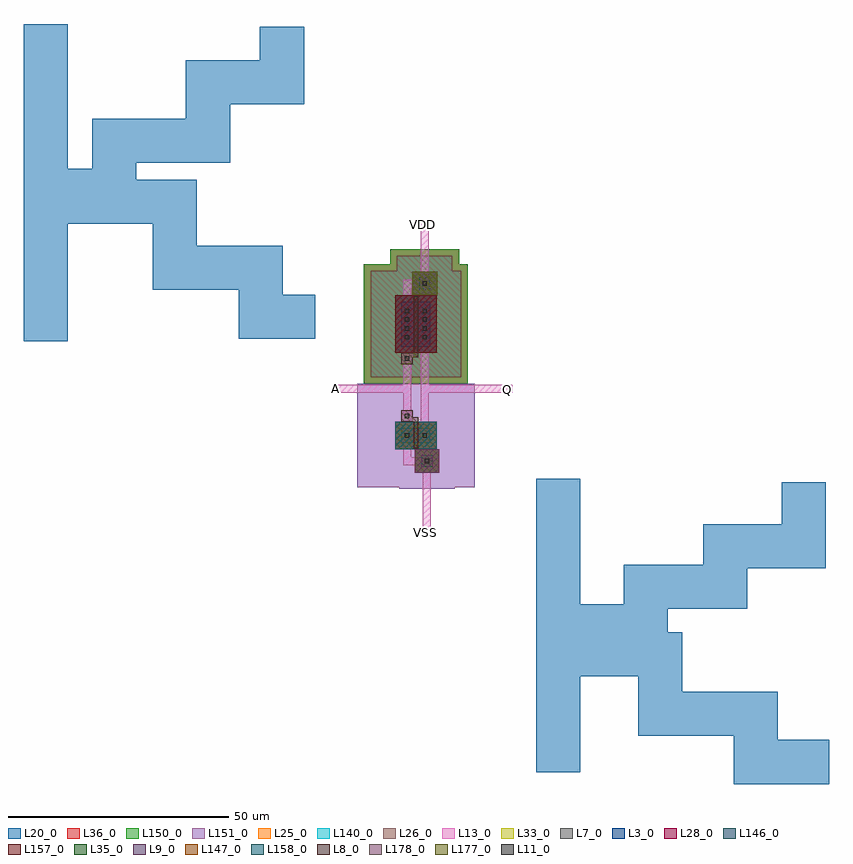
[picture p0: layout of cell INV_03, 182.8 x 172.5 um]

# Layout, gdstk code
import gdstk
lib = gdstk.Library(unit=1e-6, precision=1e-07)
def R(c, l, rs):  # rectangles x0, y0, x1, y1
    for r in rs: c.add(gdstk.rectangle(r[:2], r[2:], *l))
L3_0 = (3, 0)
L7_0 = (7, 0)
L8_0 = (8, 0)
L9_0 = (9, 0)
L11_0 = (11, 0)
L13_0 = (13, 0)
L20_0 = (20, 0)
L25_0 = (25, 0)
L26_0 = (26, 0)
L28_0 = (28, 0)
L33_0 = (33, 0)
L35_0 = (35, 0)
L36_0 = (36, 0)
L140_0 = (140, 0)
L146_0 = (146, 0)
L147_0 = (147, 0)
L150_0 = (150, 0)
L151_0 = (151, 0)
L157_0 = (157, 0)
L158_0 = (158, 0)
L177_0 = (177, 0)
L178_0 = (178, 0)

dcont = lib.new_cell('dcont')
R(dcont, L3_0, [(-1.3,-1.3,1.3,1.3)])
R(dcont, L11_0, [(-0.5,-0.5,0.5,0.5)])
R(dcont, L13_0, [(-1.3,-1.3,1.3,1.3), (-0.5,-0.5,0.5,0.5)])

pcont = lib.new_cell('pcont')
R(pcont, L8_0, [(-1.3,-1.3,1.3,1.3)])
R(pcont, L11_0, [(-0.5,-0.5,0.5,0.5)])
R(pcont, L13_0, [(-1.3,-1.3,1.3,1.3), (-0.5,-0.5,0.5,0.5)])

c_dcont = lib.new_cell('DCONT')
R(c_dcont, L3_0, [(-1.3,-1.3,1.3,1.3)])
R(c_dcont, L11_0, [(-0.5,-0.5,0.5,0.5)])
R(c_dcont, L13_0, [(-1.3,-1.3,1.3,1.3), (-0.5,-0.5,0.5,0.5)])

psubcont = lib.new_cell('psubcont')
R(psubcont, L7_0, [(-2.8,-2.7,2.8,2.7)])
R(psubcont, L28_0, [(-2.8,-2.7,2.8,2.7)])
R(psubcont, L33_0, [(-2.8,-2.7,2.8,2.7)])
R(psubcont, L35_0, [(-2.8,-2.7,2.8,2.7)])
R(psubcont, L151_0, [(-6.3,-6.3,6.3,6.3)])
R(psubcont, L178_0, [(-2.8,-2.7,2.8,2.7)])
psubcont.add(gdstk.Reference(c_dcont, (0,0)))

mn_1 = lib.new_cell('MN$1')
R(mn_1, L3_0, [(0,3.6,6.6,7)])
R(mn_1, L9_0, [(-1.4,2.2,8,8.4)])
R(mn_1, L33_0, [(-1.4,2.2,8,8.4)])
R(mn_1, L35_0, [(-1.4,2.2,8,8.4)])
R(mn_1, L147_0, [(-1.4,2.2,8,8.4)])
R(mn_1, L151_0, [(-10,-6.4,16.6,17)])
R(mn_1, L158_0, [(-1.4,2.2,8,8.4)])
mn_1.add(gdstk.FlexPath([(1.3,3.6),(1.3,7)], 2.6, ends="flush", simple_path=True, layer=13, datatype=0))  # L13_0
mn_1.add(gdstk.FlexPath([(5.3,3.6),(5.3,7)], 2.6, ends="flush", simple_path=True, layer=13, datatype=0))  # L13_0
mn_1.add(gdstk.FlexPath([(1.3,1.3),(1.3,4.6)], 1.8, ends="flush", simple_path=True, layer=13, datatype=0))  # L13_0
mn_1.add(gdstk.FlexPath([(5.3,6),(5.3,9.3)], 1.8, ends="flush", simple_path=True, layer=13, datatype=0))  # L13_0
mn_1.add(gdstk.FlexPath([(3.3,3.6),(3.3,7)], 1, ends=(1.2, 1.2), simple_path=True, layer=8, datatype=0))  # L8_0
mn_1.add(gdstk.FlexPath([(1.3,8.9),(3.3,8.9),(3.3,8.2)], 1, ends="flush", simple_path=True, layer=8, datatype=0))  # L8_0
mn_1.add(gdstk.Reference(dcont, (1.3,5.3)))
mn_1.add(gdstk.Reference(dcont, (5.3,5.3)))
mn_1.add(gdstk.Reference(pcont, (1.3,9.7)))
mn_1.add(gdstk.Reference(psubcont, (5.8,-0.5)))

nsubcont = lib.new_cell('nsubcont')
R(nsubcont, L7_0, [(-2.8,-2.7,2.8,2.7)])
R(nsubcont, L9_0, [(-2.8,-2.7,2.8,2.7)])
R(nsubcont, L25_0, [(-6.3,-6.3,6.3,6.3)])
R(nsubcont, L26_0, [(-6.3,-6.3,6.3,6.3)])
R(nsubcont, L33_0, [(-2.8,-2.7,2.8,2.7)])
R(nsubcont, L35_0, [(-2.8,-2.7,2.8,2.7)])
R(nsubcont, L36_0, [(-7.8,-7.8,7.8,7.8)])
R(nsubcont, L140_0, [(-6.3,-6.3,6.3,6.3)])
R(nsubcont, L150_0, [(-7.8,-7.8,7.8,7.8)])
R(nsubcont, L177_0, [(-2.8,-2.7,2.8,2.7)])
nsubcont.add(gdstk.Reference(c_dcont, (0,0)))

c_mp = lib.new_cell('MP')
R(c_mp, L3_0, [(0,3.6,6.6,13.8)])
R(c_mp, L7_0, [(-1.4,2.2,8,15.2)])
R(c_mp, L25_0, [(-7,-3.4,13.6,20.8)])
R(c_mp, L26_0, [(-7,-3.4,13.6,20.8)])
R(c_mp, L28_0, [(-1.4,2.2,8,15.2)])
R(c_mp, L33_0, [(-1.4,2.2,8,15.2)])
R(c_mp, L36_0, [(-8.5,-4.9,15.1,22.3)])
R(c_mp, L140_0, [(-7,-3.4,13.6,20.8)])
R(c_mp, L146_0, [(-1.4,2.2,8,15.2)])
R(c_mp, L150_0, [(-8.5,-4.9,15.1,22.3)])
R(c_mp, L157_0, [(-1.4,2.2,8,15.2)])
c_mp.add(gdstk.FlexPath([(1.3,3.6),(1.3,13.8)], 2.6, ends="flush", simple_path=True, layer=13, datatype=0))  # L13_0
c_mp.add(gdstk.FlexPath([(5.3,3.6),(5.3,13.8)], 2.6, ends="flush", simple_path=True, layer=13, datatype=0))  # L13_0
c_mp.add(gdstk.FlexPath([(1.3,12.8),(1.3,16.1)], 1.8, ends="flush", simple_path=True, layer=13, datatype=0))  # L13_0
c_mp.add(gdstk.FlexPath([(5.3,1.3),(5.3,4.6)], 1.8, ends="flush", simple_path=True, layer=13, datatype=0))  # L13_0
c_mp.add(gdstk.FlexPath([(3.3,3.6),(3.3,13.8)], 1, ends=(1.2, 1.2), simple_path=True, layer=8, datatype=0))  # L8_0
c_mp.add(gdstk.FlexPath([(1.3,1.7),(3.3,1.7),(3.3,2.4)], 1, ends="flush", simple_path=True, layer=8, datatype=0))  # L8_0
c_mp.add(gdstk.Reference(dcont, (1.3,5.7)))
c_mp.add(gdstk.Reference(dcont, (1.3,7.7)))
c_mp.add(gdstk.Reference(dcont, (1.3,9.7)))
c_mp.add(gdstk.Reference(dcont, (1.3,11.7)))
c_mp.add(gdstk.Reference(dcont, (5.3,5.7)))
c_mp.add(gdstk.Reference(dcont, (5.3,7.7)))
c_mp.add(gdstk.Reference(dcont, (5.3,9.7)))
c_mp.add(gdstk.Reference(dcont, (5.3,11.7)))
c_mp.add(gdstk.Reference(pcont, (1.3,0.9)))
c_mp.add(gdstk.Reference(nsubcont, (5.3,17.9)))

inv_03 = lib.new_cell('INV_03')
inv_03.add(gdstk.FlexPath([(0.3,25.8),(0.3,12.5)], 1.8, ends="flush", simple_path=True, layer=13, datatype=0))  # L13_0
inv_03.add(gdstk.FlexPath([(-2,18.9),(-16.6,18.9)], 1.8, ends="flush", simple_path=True, layer=13, datatype=0))  # L13_0
inv_03.add(gdstk.FlexPath([(4.3,26.5),(4.3,12)], 1.8, ends="flush", simple_path=True, layer=13, datatype=0))  # L13_0
inv_03.add(gdstk.FlexPath([(4.3,18.9),(21.3,18.9)], 1.8, ends="flush", simple_path=True, layer=13, datatype=0))  # L13_0
inv_03.add(gdstk.FlexPath([(-2.1,18.9),(-0.1,18.9)], 1.8, ends="flush", simple_path=True, layer=13, datatype=0))  # L13_0
inv_03.add(gdstk.FlexPath([(20.9,18.9),(24.2,18.9)], 1.8, ends="flush", simple_path=True, layer=13, datatype=0))  # L13_0
inv_03.add(gdstk.FlexPath([(0.3,40.6),(0.3,42.8),(4.4,42.8)], 1.8, ends="flush", simple_path=True, layer=13, datatype=0))  # L13_0
inv_03.add(gdstk.FlexPath([(4.3,42.8),(4.3,57.1)], 1.8, ends="flush", simple_path=True, layer=13, datatype=0))  # L13_0
inv_03.add(gdstk.FlexPath([(0.3,5.2),(0.3,2.5),(4.9,2.5)], 1.8, ends="flush", simple_path=True, layer=13, datatype=0))  # L13_0
inv_03.add(gdstk.FlexPath([(4.8,2.5),(4.8,-14.6)], 1.8, ends="flush", simple_path=True, layer=13, datatype=0))  # L13_0
inv_03.add(gdstk.FlexPath([(-81.7,101.7),(-81.7,29.7)], 10, ends="flush", simple_path=True, layer=20, datatype=0))  # L20_0
inv_03.add(gdstk.FlexPath([(-28.1,101.1),(-28.1,88.5),(-44.9,88.5),(-44.9,75.2),(-66.2,75.2),(-66.2,63.8),(-81.9,63.8)], 10, ends="flush", simple_path=True, layer=20, datatype=0))  # L20_0
inv_03.add(gdstk.FlexPath([(-79.5,61.4),(-52.4,61.4),(-52.4,46.4),(-32.9,46.4),(-32.9,35.3),(-20.5,35.3)], 10, ends="flush", simple_path=True, layer=20, datatype=0))  # L20_0
inv_03.add(gdstk.FlexPath([(34.6,-1.5),(34.6,-68.1)], 10, ends="flush", simple_path=True, layer=20, datatype=0))  # L20_0
inv_03.add(gdstk.FlexPath([(90.3,-2.3),(90.3,-16.8),(72.5,-16.8),(72.5,-26),(54.5,-26),(54.5,-35),(36.2,-35)], 10, ends="flush", simple_path=True, layer=20, datatype=0))  # L20_0
inv_03.add(gdstk.FlexPath([(39.4,-41.3),(57.8,-41.3),(57.8,-54.9),(79.4,-54.9),(79.4,-65.8),(96.1,-65.8)], 10, ends="flush", simple_path=True, layer=20, datatype=0))  # L20_0
inv_03.add(gdstk.Reference(mn_1, (-1,3)))
inv_03.add(gdstk.Reference(c_mp, (-1,24.9)))
inv_03.add(gdstk.Label('VDD', (3.9,56.1), layer=13, texttype=0))
inv_03.add(gdstk.Label('VSS', (4.5,-13.8), layer=13, texttype=0))
inv_03.add(gdstk.Label('A', (-16,19), layer=13, texttype=0))
inv_03.add(gdstk.Label('Q', (23,18.8), layer=13, texttype=0))

lib.write_gds('INV_03.gds')
